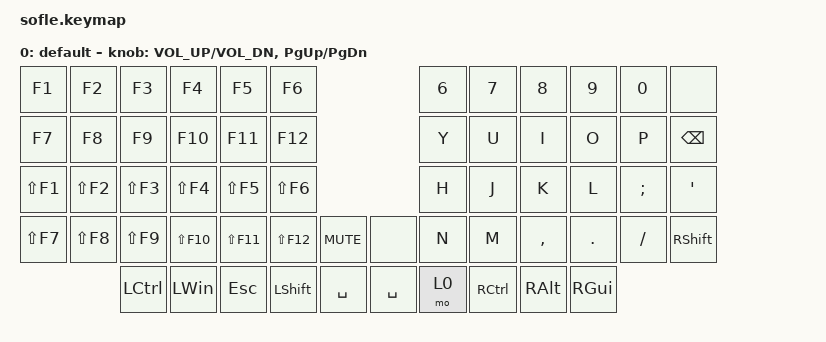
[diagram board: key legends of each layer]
/*
 * Copyright (c) 2020 The ZMK Contributors
 *
 * SPDX-License-Identifier: MIT
 */

#include <behaviors.dtsi>
#include <dt-bindings/zmk/keys.h>

#define BASE 0
#define LOWER 1
#define RAISE 2
#define ADJUST 3

/ {
    // Activate ADJUST layer by pressing raise and lower

    conditional_layers {
        compatible = "zmk,conditional-layers";

        adjust_layer {
            if-layers = <1 2>;
            then-layer = <3>;
        };
    };

    keymap {
        compatible = "zmk,keymap";

        default_layer {
            label = "default";

            // ------------------------------------------------------------------------------------------------------------
            // |   `   |  1  |  2  |  3   |  4   |  5   |                   |  6   |  7    |  8    |  9   |   0   |       |
            // |  ESC  |  Q  |  W  |  E   |  R   |  T   |                   |  Y   |  U    |  I    |  O   |   P   | BKSPC |
            // |  TAB  |  A  |  S  |  D   |  F   |  G   |                   |  H   |  J    |  K    |  L   |   ;   |   '   |
            // | SHIFT |  Z  |  X  |  C   |  V   |  B   |  MUTE  |  |       |  N   |  M    |  ,    |  .   |   /   | SHIFT |
            //               | GUI | ALT  | CTRL | LOWER|  ENTER |  | SPACE | RAISE| CTRL  | ALT   | GUI  |

            bindings = <
&kp F1      &kp F2      &kp F3            &kp F4        &kp F5       &kp F6                                   &kp N6  &kp N7     &kp N8     &kp N9    &kp N0    &none
&kp F7      &kp F8      &kp F9            &kp F10       &kp F11      &kp F12                                  &kp Y   &kp U      &kp I      &kp O     &kp P     &kp BSPC
&kp LS(F1)  &kp LS(F2)  &kp LS(F3)        &kp LS(F4)    &kp LS(F5)   &kp LS(F6)                               &kp H   &kp J      &kp K      &kp L     &kp SEMI  &kp SQT
&kp LS(F7)  &kp LS(F8)  &kp LS(F9)        &kp LS(F10)   &kp LS(F11)  &kp LS(F12)     &kp C_MUTE    &none      &kp N   &kp M      &kp COMMA  &kp DOT   &kp FSLH  &kp RSHFT
                        &kp LEFT_CONTROL  &kp LEFT_WIN  &kp ESCAPE   &kp LEFT_SHIFT  &kp SPACE     &kp SPACE  &mo 0   &kp RCTRL  &kp RALT   &kp RGUI
            >;

            sensor-bindings = <&inc_dec_kp C_VOL_UP C_VOL_DN &inc_dec_kp PG_UP PG_DN>;
        };
    };
};
